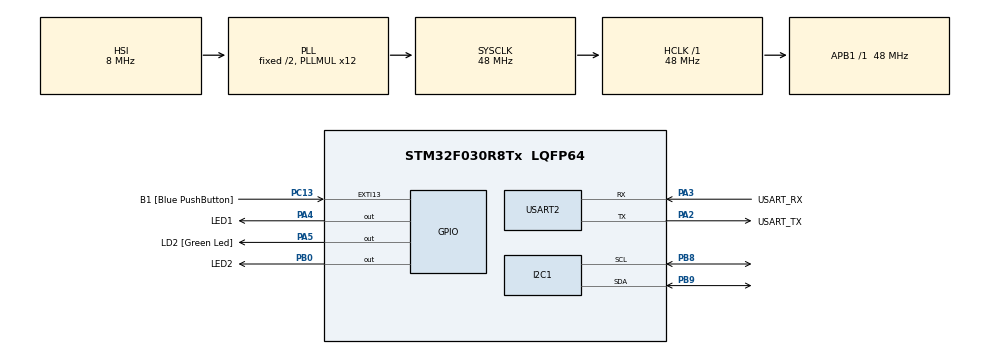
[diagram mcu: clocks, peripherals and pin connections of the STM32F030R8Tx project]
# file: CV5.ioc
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Dma.Request0=USART2_RX
Dma.USART2_RX.0.Direction=DMA_PERIPH_TO_MEMORY
Dma.USART2_RX.0.Instance=DMA1_Channel5
Dma.USART2_RX.0.MemDataAlignment=DMA_MDATAALIGN_BYTE
Dma.USART2_RX.0.MemInc=DMA_MINC_ENABLE
Dma.USART2_RX.0.Mode=DMA_CIRCULAR
Dma.USART2_RX.0.PeriphDataAlignment=DMA_PDATAALIGN_BYTE
Dma.USART2_RX.0.PeriphInc=DMA_PINC_DISABLE
Dma.USART2_RX.0.Priority=DMA_PRIORITY_LOW
Mcu.Family=STM32F0
Mcu.Name=STM32F030R8Tx
Mcu.Package=LQFP64
NVIC.DMA1_Channel4_5_IRQn=true\:0\:0\:false\:false\:true\:false\:true\:true
PA13.GPIO_Label=TMS
PA13.Mode=Serial_Wire
PA13.Signal=SYS_SWDIO
PA14.GPIO_Label=TCK
PA14.Mode=Serial_Wire
PA14.Signal=SYS_SWCLK
PA2.GPIO_Label=USART_TX
PA2.GPIO_Mode=GPIO_MODE_AF_PP
PA2.GPIO_PuPd=GPIO_NOPULL
PA2.GPIO_Speed=GPIO_SPEED_FREQ_LOW
PA2.Mode=Asynchronous
PA2.Signal=USART2_TX
PA3.GPIO_Label=USART_RX
PA3.GPIO_Mode=GPIO_MODE_AF_PP
PA3.GPIO_PuPd=GPIO_NOPULL
PA3.GPIO_Speed=GPIO_SPEED_FREQ_LOW
PA3.Mode=Asynchronous
PA3.Signal=USART2_RX
PA4.GPIO_Label=LED1
PA4.Signal=GPIO_Output
PA5.GPIO_Label=LD2 [Green Led]
PA5.GPIO_Mode=GPIO_MODE_OUTPUT_PP
PA5.GPIO_PuPd=GPIO_NOPULL
PA5.GPIO_Speed=GPIO_SPEED_FREQ_LOW
PA5.Signal=GPIO_Output
PB0.GPIO_Label=LED2
PB0.Signal=GPIO_Output
PB8.Mode=I2C
PB8.Signal=I2C1_SCL
PB9.Mode=I2C
PB9.Signal=I2C1_SDA
PC13.GPIO_Label=B1 [Blue PushButton]
PC13.GPIO_ModeDefaultEXTI=GPIO_MODE_IT_FALLING
PC13.Signal=GPXTI13
PC14-OSC32_IN.Mode=LSE-External-Oscillator
PC14-OSC32_IN.Signal=RCC_OSC32_IN
PC15-OSC32_OUT.Mode=LSE-External-Oscillator
PC15-OSC32_OUT.Signal=RCC_OSC32_OUT
PF0-OSC_IN.Mode=HSE-External-Clock-Source
PF0-OSC_IN.Signal=RCC_OSC_IN
PF1-OSC_OUT.Signal=RCC_OSC_OUT
ProjectManager.HeapSize=0x200
ProjectManager.StackSize=0x400
ProjectManager.TargetToolchain=STM32CubeIDE
RCC.AHBFreq_Value=48000000
RCC.APB1Freq_Value=48000000
RCC.APB1TimFreq_Value=48000000
RCC.HCLKFreq_Value=48000000
RCC.PLLMUL=RCC_PLL_MUL12
RCC.SYSCLKFreq_VALUE=48000000
RCC.SYSCLKSource=RCC_SYSCLKSOURCE_PLLCLK
USART2.VirtualMode-Asynchronous=VM_ASYNC
board=NUCLEO-F030R8

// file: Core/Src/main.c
/* USER CODE BEGIN Header */
/**
  ******************************************************************************
  * @file           : main.c
  * @brief          : Main program body
  ******************************************************************************
  * @attention
  *
  * Copyright (c) 2023 STMicroelectronics.
  * All rights reserved.
  *
  * This software is licensed under terms that can be found in the LICENSE file
  * in the root directory of this software component.
  * If no LICENSE file comes with this software, it is provided AS-IS.
  *
  ******************************************************************************
  */
/* USER CODE END Header */
#include "main.h"

/* USER CODE BEGIN Includes */
#include <stdio.h>
#include <string.h>
#include <stdlib.h>

/* USER CODE END Includes */

I2C_HandleTypeDef hi2c1;

UART_HandleTypeDef huart2;
DMA_HandleTypeDef hdma_usart2_rx;

void SystemClock_Config(void);
static void MX_GPIO_Init(void);
static void MX_DMA_Init(void);
static void MX_USART2_UART_Init(void);
static void MX_I2C1_Init(void);

/* USER CODE BEGIN 0 */
#define EEPROM_ADDR 0xA0
#define RX_BUFFER_LEN 64
#define uart_rx_write_ptr (RX_BUFFER_LEN - hdma_usart2_rx.Instance->CNDTR)
#define CMD_BUFFER_LEN 256
static volatile uint16_t uart_rx_read_ptr = 0;

static void uart_process_command(char *cmd){
	char *token;
	token = strtok(cmd, " ");
	if (strcasecmp(token, "HELLO") == 0) {

		printf("prijato: '%s'\n", "Hello, need something?");
	}
	else if (strcasecmp(token, "LED1") == 0) {
		token = strtok(NULL, " ");
		if (strcasecmp(token, "ON") == 0){
			HAL_GPIO_WritePin(GPIOA, LED1_Pin, 1);
		}
		else if (strcasecmp(token, "OFF") == 0){
			HAL_GPIO_WritePin(GPIOA, LED1_Pin, 0);
		}
	}
	else if (strcasecmp(token, "LED2") == 0) {
			token = strtok(NULL, " ");
			if (strcasecmp(token, "ON") == 0){
				HAL_GPIO_WritePin(GPIOB, LED2_Pin, 1);
			}
			else if (strcasecmp(token, "OFF") == 0){
				HAL_GPIO_WritePin(GPIOB, LED2_Pin, 0);
			}
		}
	else if (strcasecmp(token, "STATUS") == 0) {
		uint8_t LED1;
		LED1 = HAL_GPIO_ReadPin(GPIOA, LED1_Pin);
		uint8_t LED2;
		LED2 = HAL_GPIO_ReadPin(GPIOB, LED2_Pin);
		if ((LED1 == 1) && (LED2 == 1)) {
			printf("LED1 is ON\nLED2 is ON\n");
		} else if ((LED1 == 1) && (LED2 == 0)) {
			printf("LED1 is ON\nLED2 is OFF\n");
		} else if ((LED1 == 0) && (LED2 == 0)) {
			printf("LED1 is OFF\nLED2 is OFF\n");
		} else if ((LED1 == 0) && (LED2 == 1)) {
			printf("LED1 is OFF\nLED2 is ON\n");
		}

	}
	else if (strcasecmp(token, "READ") == 0) {
		uint16_t addr = 0;
		uint8_t value = 0;
		token = strtok(NULL, " ");
		addr = atoi(token);
		HAL_I2C_Mem_Read(&hi2c1, EEPROM_ADDR, addr, I2C_MEMADD_SIZE_16BIT, &value, 1, 1000);
		printf("Adress: 0x%04X Value: 0x%02X\n", addr, value);

	}
	else if (strcasecmp(token, "WRITE") == 0) {
		uint16_t addr = 0;
		uint8_t value = 0;
		token = strtok(NULL, " ");
		addr = atoi(token);
		token = strtok(NULL, " ");
		value = atoi(token);
		while (HAL_I2C_IsDeviceReady(&hi2c1, EEPROM_ADDR, 300, 1000) == HAL_TIMEOUT) {}
		HAL_I2C_Mem_Write(&hi2c1, EEPROM_ADDR, addr, I2C_MEMADD_SIZE_16BIT, &value, 1, 1000);
		printf("Adress: 0x%04X changed to: 0x%02X\n", addr, value);

	}
	else if(strcasecmp(token, "DUMP") == 0){
		uint8_t value = 0;
		for (uint16_t i=0; i < 16; i++){
			HAL_I2C_Mem_Read(&hi2c1, EEPROM_ADDR, i, I2C_MEMADD_SIZE_16BIT, &value, 1, 1000);
			printf("Adress: 0x%04X Value: 0x%02X\n", i, value);
		}
	}
	else {
		printf("prijato: '%s'\n", "I dont understand.");
	}
}

static void uart_byte_available(uint8_t c) {
	static uint16_t cnt;
	static char data[CMD_BUFFER_LEN];
	if (cnt < CMD_BUFFER_LEN && c >= 32 && c <= 126)
		data[cnt++] = c;
	if ((c == '\n' || c == '\r') && cnt > 0) {
		data[cnt] = '\0';
		uart_process_command(data);
		cnt = 0;
	}
}

int _write(int file, char const *buf, int n)
{
 /* stdout redirection to UART2 */
 HAL_UART_Transmit(&huart2, (uint8_t*)(buf), n, HAL_MAX_DELAY);
 return n;
}
/* USER CODE END 0 */

int main(void)
{
  /* USER CODE BEGIN 1 */
  static uint8_t uart_rx_buf[RX_BUFFER_LEN];

  /* USER CODE END 1 */

  /* MCU Configuration--------------------------------------------------------*/

  /* Reset of all peripherals, Initializes the Flash interface and the Systick. */
  HAL_Init();

  /* Configure the system clock */
  SystemClock_Config();

  /* Initialize all configured peripherals */
  MX_GPIO_Init();
  MX_DMA_Init();
  MX_USART2_UART_Init();
  MX_I2C1_Init();
  /* USER CODE BEGIN 2 */
  HAL_UART_Receive_DMA(&huart2, uart_rx_buf, RX_BUFFER_LEN);
  /* USER CODE END 2 */

  /* Infinite loop */
  /* USER CODE BEGIN WHILE */
  while (1)
  {
		while (uart_rx_read_ptr != uart_rx_write_ptr) {
			uint8_t b = uart_rx_buf[uart_rx_read_ptr];
			if (++uart_rx_read_ptr >= RX_BUFFER_LEN)
				uart_rx_read_ptr = 0; // increase read pointer
			uart_byte_available(b); // process every received byte with the RX state machine
		}

    /* USER CODE END WHILE */

  }
}

void SystemClock_Config(void)
{
  RCC_OscInitTypeDef RCC_OscInitStruct = {0};
  RCC_ClkInitTypeDef RCC_ClkInitStruct = {0};
  RCC_PeriphCLKInitTypeDef PeriphClkInit = {0};

  /** Initializes the RCC Oscillators according to the specified parameters
  * in the RCC_OscInitTypeDef structure.
  */
  RCC_OscInitStruct.OscillatorType = RCC_OSCILLATORTYPE_HSI;
  RCC_OscInitStruct.HSIState = RCC_HSI_ON;
  RCC_OscInitStruct.HSICalibrationValue = RCC_HSICALIBRATION_DEFAULT;
  RCC_OscInitStruct.PLL.PLLState = RCC_PLL_ON;
  RCC_OscInitStruct.PLL.PLLSource = RCC_PLLSOURCE_HSI;
  RCC_OscInitStruct.PLL.PLLMUL = RCC_PLL_MUL12;
  RCC_OscInitStruct.PLL.PREDIV = RCC_PREDIV_DIV1;
  if (HAL_RCC_OscConfig(&RCC_OscInitStruct) != HAL_OK)
  {
    Error_Handler();
  }

  /** Initializes the CPU, AHB and APB buses clocks
  */
  RCC_ClkInitStruct.ClockType = RCC_CLOCKTYPE_HCLK|RCC_CLOCKTYPE_SYSCLK
                              |RCC_CLOCKTYPE_PCLK1;
  RCC_ClkInitStruct.SYSCLKSource = RCC_SYSCLKSOURCE_PLLCLK;
  RCC_ClkInitStruct.AHBCLKDivider = RCC_SYSCLK_DIV1;
  RCC_ClkInitStruct.APB1CLKDivider = RCC_HCLK_DIV1;

  if (HAL_RCC_ClockConfig(&RCC_ClkInitStruct, FLASH_LATENCY_1) != HAL_OK)
  {
    Error_Handler();
  }
  PeriphClkInit.PeriphClockSelection = RCC_PERIPHCLK_I2C1;
  PeriphClkInit.I2c1ClockSelection = RCC_I2C1CLKSOURCE_HSI;
  if (HAL_RCCEx_PeriphCLKConfig(&PeriphClkInit) != HAL_OK)
  {
    Error_Handler();
  }
}

static void MX_I2C1_Init(void)
{

  hi2c1.Instance = I2C1;
  hi2c1.Init.Timing = 0x2000090E;
  hi2c1.Init.OwnAddress1 = 0;
  hi2c1.Init.AddressingMode = I2C_ADDRESSINGMODE_7BIT;
  hi2c1.Init.DualAddressMode = I2C_DUALADDRESS_DISABLE;
  hi2c1.Init.OwnAddress2 = 0;
  hi2c1.Init.OwnAddress2Masks = I2C_OA2_NOMASK;
  hi2c1.Init.GeneralCallMode = I2C_GENERALCALL_DISABLE;
  hi2c1.Init.NoStretchMode = I2C_NOSTRETCH_DISABLE;
  if (HAL_I2C_Init(&hi2c1) != HAL_OK)
  {
    Error_Handler();
  }

  /** Configure Analogue filter
  */
  if (HAL_I2CEx_ConfigAnalogFilter(&hi2c1, I2C_ANALOGFILTER_ENABLE) != HAL_OK)
  {
    Error_Handler();
  }

  /** Configure Digital filter
  */
  if (HAL_I2CEx_ConfigDigitalFilter(&hi2c1, 0) != HAL_OK)
  {
    Error_Handler();
  }

}

static void MX_USART2_UART_Init(void)
{

  huart2.Instance = USART2;
  huart2.Init.BaudRate = 38400;
  huart2.Init.WordLength = UART_WORDLENGTH_8B;
  huart2.Init.StopBits = UART_STOPBITS_1;
  huart2.Init.Parity = UART_PARITY_NONE;
  huart2.Init.Mode = UART_MODE_TX_RX;
  huart2.Init.HwFlowCtl = UART_HWCONTROL_NONE;
  huart2.Init.OverSampling = UART_OVERSAMPLING_16;
  huart2.Init.OneBitSampling = UART_ONE_BIT_SAMPLE_DISABLE;
  huart2.AdvancedInit.AdvFeatureInit = UART_ADVFEATURE_NO_INIT;
  if (HAL_UART_Init(&huart2) != HAL_OK)
  {
    Error_Handler();
  }

}

static void MX_DMA_Init(void)
{

  /* DMA controller clock enable */
  __HAL_RCC_DMA1_CLK_ENABLE();

  /* DMA interrupt init */
  /* DMA1_Channel4_5_IRQn interrupt configuration */
  HAL_NVIC_SetPriority(DMA1_Channel4_5_IRQn, 0, 0);
  HAL_NVIC_EnableIRQ(DMA1_Channel4_5_IRQn);

}

static void MX_GPIO_Init(void)
{
  GPIO_InitTypeDef GPIO_InitStruct = {0};

  /* GPIO Ports Clock Enable */
  __HAL_RCC_GPIOC_CLK_ENABLE();
  __HAL_RCC_GPIOF_CLK_ENABLE();
  __HAL_RCC_GPIOA_CLK_ENABLE();
  __HAL_RCC_GPIOB_CLK_ENABLE();

  /*Configure GPIO pin Output Level */
  HAL_GPIO_WritePin(GPIOA, LED1_Pin|LD2_Pin, GPIO_PIN_RESET);

  /*Configure GPIO pin Output Level */
  HAL_GPIO_WritePin(LED2_GPIO_Port, LED2_Pin, GPIO_PIN_RESET);

  /*Configure GPIO pin : B1_Pin */
  GPIO_InitStruct.Pin = B1_Pin;
  GPIO_InitStruct.Mode = GPIO_MODE_IT_FALLING;
  GPIO_InitStruct.Pull = GPIO_NOPULL;
  HAL_GPIO_Init(B1_GPIO_Port, &GPIO_InitStruct);

  /*Configure GPIO pins : LED1_Pin LD2_Pin */
  GPIO_InitStruct.Pin = LED1_Pin|LD2_Pin;
  GPIO_InitStruct.Mode = GPIO_MODE_OUTPUT_PP;
  GPIO_InitStruct.Pull = GPIO_NOPULL;
  GPIO_InitStruct.Speed = GPIO_SPEED_FREQ_LOW;
  HAL_GPIO_Init(GPIOA, &GPIO_InitStruct);

  /*Configure GPIO pin : LED2_Pin */
  GPIO_InitStruct.Pin = LED2_Pin;
  GPIO_InitStruct.Mode = GPIO_MODE_OUTPUT_PP;
  GPIO_InitStruct.Pull = GPIO_NOPULL;
  GPIO_InitStruct.Speed = GPIO_SPEED_FREQ_LOW;
  HAL_GPIO_Init(LED2_GPIO_Port, &GPIO_InitStruct);

}

void Error_Handler(void)
{
  __disable_irq();
  while (1)
  {
  }
}
